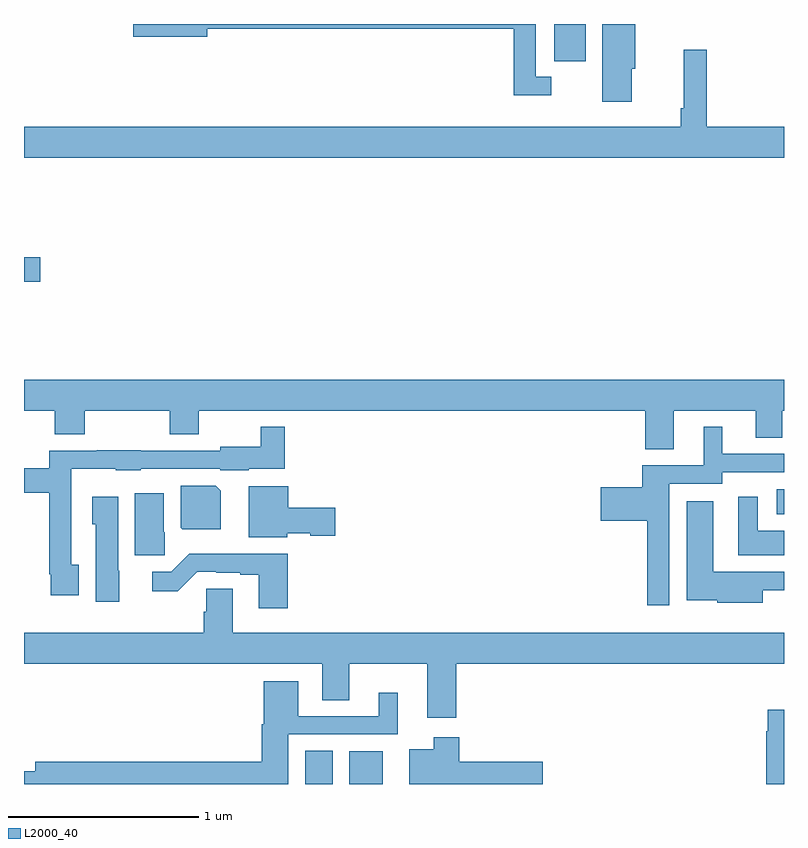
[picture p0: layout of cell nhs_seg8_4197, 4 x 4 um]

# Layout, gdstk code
import gdstk
lib = gdstk.Library(unit=1e-6, precision=1e-09)
def R(c, l, rs):  # rectangles x0, y0, x1, y1
    for r in rs: c.add(gdstk.rectangle(r[:2], r[2:], *l))
def P(c, l, *ps):  # polygons
    for p in ps: c.add(gdstk.Polygon(p, *l))
L2000_40 = (2000, 40)

nhs_seg8_4197 = lib.new_cell('nhs_seg8_4197')
R(nhs_seg8_4197, L2000_40, [(370.481,1083.9,370.624,1084.076), (370.712,1083.9,370.888,1084.072), (372.963,1085.321,373,1085.452), (369,1086.544,369.085,1086.673), (371.792,1087.704,371.956,1087.9)])
P(nhs_seg8_4197, L2000_40, [(371.776,1087.623),(371.694,1087.623),(371.694,1087.9),(369.576,1087.9),(369.576,1087.834),(369.964,1087.834),(369.964,1087.876),(371.578,1087.876),(371.578,1087.526),(371.776,1087.526)],
  [(372.199,1087.665),(372.217,1087.665),(372.217,1087.9),(372.044,1087.9),(372.044,1087.491),(372.199,1087.491)],
  [(373,1087.36),(372.593,1087.36),(372.593,1087.765),(372.472,1087.765),(372.472,1087.456),(372.457,1087.456),(372.457,1087.36),(369,1087.36),(369,1087.196),(373,1087.196)],
  [(372.421,1085.864),(372.851,1085.864),(372.851,1085.722),(372.991,1085.722),(372.991,1085.864),(373,1085.864),(373,1086.028),(369,1086.028),(369,1085.864),(369.161,1085.864),(369.161,1085.74),(369.321,1085.74),(369.321,1085.864),(369.766,1085.864),(369.766,1085.74),(369.921,1085.74),(369.921,1085.864),(372.269,1085.864),(372.269,1085.662),(372.421,1085.662)],
  [(369.289,1085.054),(369.249,1085.054),(369.249,1085.558),(369.483,1085.558),(369.483,1085.552),(369.615,1085.552),(369.615,1085.559),(370.032,1085.559),(370.032,1085.552),(370.182,1085.552),(370.182,1085.558),(370.373,1085.558),(370.373,1085.779),(370.245,1085.779),(370.245,1085.674),(370.032,1085.674),(370.032,1085.655),(369.615,1085.655),(369.615,1085.657),(369.383,1085.657),(369.383,1085.655),(369.133,1085.655),(369.133,1085.563),(369,1085.563),(369,1085.434),(369.133,1085.434),(369.133,1085.005),(369.141,1085.005),(369.141,1084.893),(369.289,1084.893)],
  [(372.396,1085.481),(372.675,1085.481),(372.675,1085.541),(373,1085.541),(373,1085.637),(372.676,1085.637),(372.676,1085.779),(372.578,1085.779),(372.578,1085.577),(372.254,1085.577),(372.254,1085.463),(372.036,1085.463),(372.036,1085.285),(372.28,1085.285),(372.28,1084.842),(372.396,1084.842)],
  [(370.036,1085.444),(370.01,1085.47),(369.824,1085.47),(369.824,1085.248),(369.832,1085.24),(370.036,1085.24)],
  [(370.386,1085.219),(370.506,1085.219),(370.506,1085.207),(370.639,1085.207),(370.639,1085.354),(370.39,1085.354),(370.39,1085.468),(370.184,1085.468),(370.184,1085.198),(370.386,1085.198)],
  [(369.74,1085.226),(369.736,1085.226),(369.736,1085.431),(369.584,1085.431),(369.584,1085.103),(369.74,1085.103)],
  [(373,1085.233),(372.862,1085.233),(372.862,1085.413),(372.758,1085.413),(372.758,1085.105),(373,1085.105)],
  [(369.502,1085.022),(369.496,1085.022),(369.496,1085.413),(369.359,1085.413),(369.359,1085.268),(369.377,1085.268),(369.377,1084.86),(369.502,1084.86)],
  [(372.889,1084.92),(373,1084.92),(373,1085.016),(372.628,1085.016),(372.628,1085.389),(372.488,1085.389),(372.488,1084.868),(372.648,1084.868),(372.648,1084.853),(372.889,1084.853)],
  [(370.388,1085.111),(369.869,1085.111),(369.774,1085.016),(369.675,1085.016),(369.675,1084.914),(369.81,1084.914),(369.912,1085.016),(370.012,1085.016),(370.012,1085.013),(370.139,1085.013),(370.139,1085.001),(370.235,1085.001),(370.235,1084.824),(370.388,1084.824)],
  [(371.276,1084.532),(373,1084.532),(373,1084.696),(370.099,1084.696),(370.099,1084.928),(369.96,1084.928),(369.96,1084.806),(369.947,1084.806),(369.947,1084.696),(369,1084.696),(369,1084.532),(370.571,1084.532),(370.571,1084.342),(370.711,1084.342),(370.711,1084.532),(371.123,1084.532),(371.123,1084.248),(371.276,1084.248)],
  [(370.392,1084.161),(370.966,1084.161),(370.966,1084.381),(370.868,1084.381),(370.868,1084.257),(370.444,1084.257),(370.444,1084.441),(370.262,1084.441),(370.262,1084.215),(370.25,1084.215),(370.25,1084.016),(369.059,1084.016),(369.059,1083.967),(369,1083.967),(369,1083.9),(370.392,1083.9)],
  [(373,1084.291),(372.915,1084.291),(372.915,1084.178),(372.907,1084.178),(372.907,1083.9),(373,1083.9)],
  [(371.729,1084.016),(371.291,1084.016),(371.291,1084.147),(371.156,1084.147),(371.156,1084.084),(371.027,1084.084),(371.027,1083.9),(371.729,1083.9)])

lib.write_gds('nhs_seg8_4197.gds')
